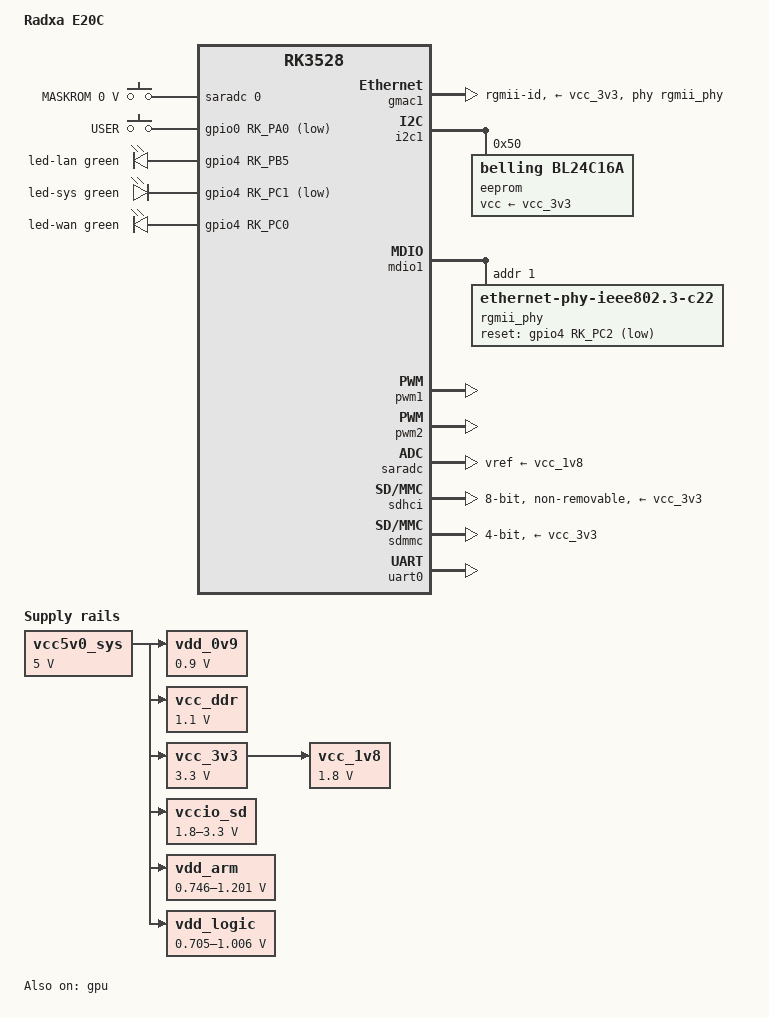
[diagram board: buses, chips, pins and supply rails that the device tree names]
// SPDX-License-Identifier: GPL-2.0+
/*
 * Copyright (c) 2020 Rockchip Electronics Co., Ltd
 * Copyright (c) 2024 Radxa Limited
 * Copyright (c) 2024 Yao Zi <ziyao@disroot.org>
 */

/dts-v1/;

#include <dt-bindings/input/input.h>
#include <dt-bindings/leds/common.h>
#include <dt-bindings/pwm/pwm.h>
#include "rk3528.dtsi"

/ {
	model = "Radxa E20C";
	compatible = "radxa,e20c", "rockchip,rk3528";

	aliases {
		ethernet0 = &gmac1;
		i2c1 = &i2c1;
		mmc0 = &sdhci;
		mmc1 = &sdmmc;
		serial0 = &uart0;
	};

	chosen {
		stdout-path = "serial0:1500000n8";
	};

	adc-keys {
		compatible = "adc-keys";
		io-channels = <&saradc 0>;
		io-channel-names = "buttons";
		keyup-threshold-microvolt = <1800000>;
		poll-interval = <100>;

		button-maskrom {
			label = "MASKROM";
			linux,code = <KEY_SETUP>;
			press-threshold-microvolt = <0>;
		};
	};

	gpio-keys {
		compatible = "gpio-keys";
		pinctrl-names = "default";
		pinctrl-0 = <&user_key>;

		button-user {
			gpios = <&gpio0 RK_PA0 GPIO_ACTIVE_LOW>;
			label = "USER";
			linux,code = <BTN_1>;
			wakeup-source;
		};
	};

	leds {
		compatible = "gpio-leds";
		pinctrl-names = "default";
		pinctrl-0 = <&lan_led_g>, <&sys_led_g>, <&wan_led_g>;

		led-lan {
			color = <LED_COLOR_ID_GREEN>;
			default-state = "off";
			function = LED_FUNCTION_LAN;
			gpios = <&gpio4 RK_PB5 GPIO_ACTIVE_HIGH>;
			linux,default-trigger = "netdev";
		};

		led-sys {
			color = <LED_COLOR_ID_GREEN>;
			default-state = "on";
			function = LED_FUNCTION_HEARTBEAT;
			gpios = <&gpio4 RK_PC1 GPIO_ACTIVE_LOW>;
			linux,default-trigger = "heartbeat";
		};

		led-wan {
			color = <LED_COLOR_ID_GREEN>;
			default-state = "off";
			function = LED_FUNCTION_WAN;
			gpios = <&gpio4 RK_PC0 GPIO_ACTIVE_HIGH>;
			linux,default-trigger = "netdev";
		};
	};

	vdd_0v9: regulator-0v9-vdd {
		compatible = "regulator-fixed";
		regulator-name = "vdd_0v9";
		regulator-always-on;
		regulator-boot-on;
		regulator-min-microvolt = <900000>;
		regulator-max-microvolt = <900000>;
		vin-supply = <&vcc5v0_sys>;
	};

	vcc_ddr: regulator-1v1-vcc-ddr {
		compatible = "regulator-fixed";
		regulator-name = "vcc_ddr";
		regulator-always-on;
		regulator-boot-on;
		regulator-min-microvolt = <1100000>;
		regulator-max-microvolt = <1100000>;
		vin-supply = <&vcc5v0_sys>;
	};

	vcc_1v8: regulator-1v8-vcc {
		compatible = "regulator-fixed";
		regulator-name = "vcc_1v8";
		regulator-always-on;
		regulator-boot-on;
		regulator-min-microvolt = <1800000>;
		regulator-max-microvolt = <1800000>;
		vin-supply = <&vcc_3v3>;
	};

	vcc_3v3: regulator-3v3-vcc {
		compatible = "regulator-fixed";
		regulator-name = "vcc_3v3";
		regulator-always-on;
		regulator-boot-on;
		regulator-min-microvolt = <3300000>;
		regulator-max-microvolt = <3300000>;
		vin-supply = <&vcc5v0_sys>;
	};

	vcc5v0_sys: regulator-5v0-vcc-sys {
		compatible = "regulator-fixed";
		regulator-name = "vcc5v0_sys";
		regulator-always-on;
		regulator-boot-on;
		regulator-min-microvolt = <5000000>;
		regulator-max-microvolt = <5000000>;
	};

	vccio_sd: regulator-vccio-sd {
		compatible = "regulator-gpio";
		gpios = <&gpio4 RK_PB6 GPIO_ACTIVE_HIGH>;
		pinctrl-names = "default";
		pinctrl-0 = <&sdmmc_vol_ctrl_h>;
		regulator-name = "vccio_sd";
		regulator-min-microvolt = <1800000>;
		regulator-max-microvolt = <3300000>;
		states = <1800000 0x0>, <3300000 0x1>;
		vin-supply = <&vcc5v0_sys>;
	};

	vdd_arm: regulator-vdd-arm {
		compatible = "pwm-regulator";
		pwms = <&pwm1 0 5000 PWM_POLARITY_INVERTED>;
		pwm-supply = <&vcc5v0_sys>;
		regulator-name = "vdd_arm";
		regulator-always-on;
		regulator-boot-on;
		regulator-min-microvolt = <746000>;
		regulator-max-microvolt = <1201000>;
		regulator-settling-time-up-us = <250>;
	};

	vdd_logic: regulator-vdd-logic {
		compatible = "pwm-regulator";
		pwms = <&pwm2 0 5000 PWM_POLARITY_INVERTED>;
		pwm-supply = <&vcc5v0_sys>;
		regulator-name = "vdd_logic";
		regulator-always-on;
		regulator-boot-on;
		regulator-min-microvolt = <705000>;
		regulator-max-microvolt = <1006000>;
		regulator-settling-time-up-us = <250>;
	};
};

&cpu0 {
	cpu-supply = <&vdd_arm>;
};

&cpu1 {
	cpu-supply = <&vdd_arm>;
};

&cpu2 {
	cpu-supply = <&vdd_arm>;
};

&cpu3 {
	cpu-supply = <&vdd_arm>;
};

&gmac1 {
	clock_in_out = "output";
	phy-handle = <&rgmii_phy>;
	phy-mode = "rgmii-id";
	phy-supply = <&vcc_3v3>;
	pinctrl-names = "default";
	pinctrl-0 = <&rgmii_miim>, <&rgmii_tx_bus2>, <&rgmii_rx_bus2>,
		    <&rgmii_rgmii_clk>, <&rgmii_rgmii_bus>;
	status = "okay";
};

&gpu {
	mali-supply = <&vdd_logic>;
	status = "okay";
};

&i2c1 {
	pinctrl-names = "default";
	pinctrl-0 = <&i2c1m0_xfer>;
	status = "okay";

	eeprom@50 {
		compatible = "belling,bl24c16a", "atmel,24c16";
		reg = <0x50>;
		pagesize = <16>;
		read-only;
		vcc-supply = <&vcc_3v3>;
	};
};

&mdio1 {
	rgmii_phy: ethernet-phy@1 {
		compatible = "ethernet-phy-ieee802.3-c22";
		reg = <0x1>;
		pinctrl-names = "default";
		pinctrl-0 = <&gmac1_rstn_l>;
		reset-assert-us = <20000>;
		reset-deassert-us = <100000>;
		reset-gpios = <&gpio4 RK_PC2 GPIO_ACTIVE_LOW>;
	};
};

&pinctrl {
	ethernet {
		gmac1_rstn_l: gmac1-rstn-l {
			rockchip,pins = <4 RK_PC2 RK_FUNC_GPIO &pcfg_pull_none>;
		};
	};

	gpio-keys {
		user_key: user-key {
			rockchip,pins = <0 RK_PA0 RK_FUNC_GPIO &pcfg_pull_up>;
		};
	};

	leds {
		lan_led_g: lan-led-g {
			rockchip,pins = <4 RK_PB5 RK_FUNC_GPIO &pcfg_pull_none>;
		};

		sys_led_g: sys-led-g {
			rockchip,pins = <4 RK_PC1 RK_FUNC_GPIO &pcfg_pull_none>;
		};

		wan_led_g: wan-led-g {
			rockchip,pins = <4 RK_PC0 RK_FUNC_GPIO &pcfg_pull_none>;
		};
	};

	sdmmc {
		sdmmc_vol_ctrl_h: sdmmc-vol-ctrl-h {
			rockchip,pins = <4 RK_PB6 RK_FUNC_GPIO &pcfg_pull_none>;
		};
	};
};

&pwm1 {
	pinctrl-names = "default";
	pinctrl-0 = <&pwm1m0_pins>;
	status = "okay";
};

&pwm2 {
	pinctrl-names = "default";
	pinctrl-0 = <&pwm2m0_pins>;
	status = "okay";
};

&saradc {
	vref-supply = <&vcc_1v8>;
	status = "okay";
};

&sdhci {
	bus-width = <8>;
	cap-mmc-highspeed;
	mmc-hs200-1_8v;
	no-sd;
	no-sdio;
	non-removable;
	vmmc-supply = <&vcc_3v3>;
	vqmmc-supply = <&vcc_1v8>;
	status = "okay";
};

&sdmmc {
	bus-width = <4>;
	cap-mmc-highspeed;
	cap-sd-highspeed;
	disable-wp;
	sd-uhs-sdr104;
	vmmc-supply = <&vcc_3v3>;
	vqmmc-supply = <&vccio_sd>;
	status = "okay";
};

&uart0 {
	pinctrl-names = "default";
	pinctrl-0 = <&uart0m0_xfer>;
	status = "okay";
};
